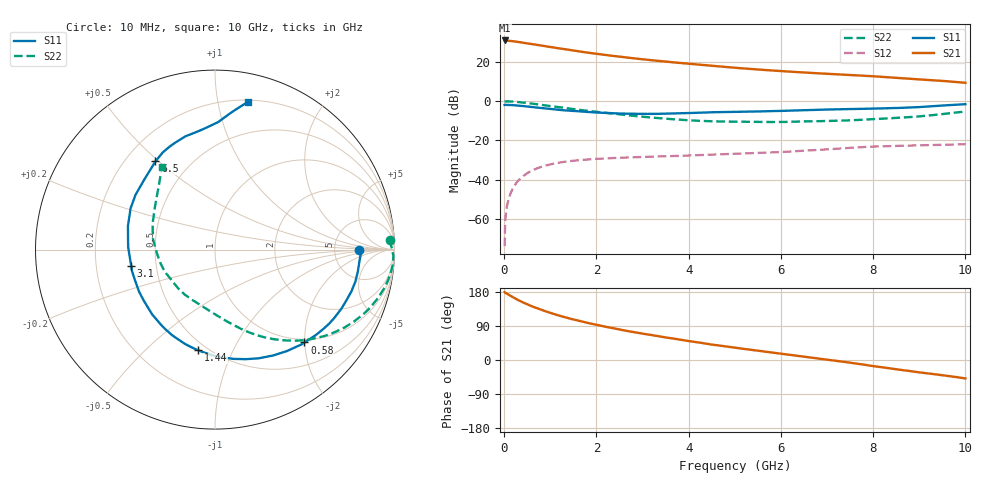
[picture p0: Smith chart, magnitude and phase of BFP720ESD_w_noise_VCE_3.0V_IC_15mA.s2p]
! Infineon Technologies  Discrete & RF Semiconductors
! BFP720ESD
! VCE =  3.0 V,  IC =  15 mA
! Common Emitter S-Parameters:  Jan 2016
# GHz  S  MA  R  50
!  f  S11  S21  S12  S22
! GHz  MAG  ANG  MAG  ANG  MAG  ANG  MAG  ANG
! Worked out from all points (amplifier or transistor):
!   233 points, 10 MHz to 10 GHz, reference 50 ohm
!   highest |S21| = 31.0 dB at 10 MHz (marker M1)
!   |S21| within 3 dB of that: start of sweep to 914.6 MHz
!   unconditionally stable (mu >= 1): 4.761 GHz to 7.295 GHz
!   at 200 MHz: K = 0.11, MSG = 37.3 dB, |S12| = -44.0 dB
!   at 1.74 GHz: K = 0.49, MSG = 27.5 dB, |S12| = -29.9 dB
!   at 10 GHz: K = 0.69, MSG = 15.7 dB, |S12| = -21.9 dB
!   lowest NFmin = 0.81 dB at 450 MHz
!   S11 on the Smith chart (normalised r, x): 10 MHz: 9.24, -0.07; 580 MHz: 0.93, -1.99; 1.44 GHz: 0.45, -0.74; 3.1 GHz: 0.36, -0.09; 6.5 GHz: 0.32, +0.49; 10 GHz: 0.22, +1.22
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0.01  0.8047 -0.1  35.66 179.3  0.0002 -130.3  0.9759 3.2
0.02  0.8135 -1.4  35.18 177.7  0.0007 96.7  0.9867 -0.2
0.05  0.808 -4.0  34.98 175.7  0.0018 85.0  0.9947 -2.0
0.15  0.8024 -12.8  34.56 168.6  0.0048 82.5  0.9874 -7.5
0.3  0.7771 -25.2  32.88 158.4  0.0093 76.0  0.9566 -14.9
0.45  0.7472 -36.6  30.89 149.7  0.0133 69.9  0.9172 -21.3
0.58  0.7183 -46.1  29.17 142.8  0.0164 65.2  0.8788 -26.4
0.76  0.6797 -58.6  26.98 134.4  0.0203 59.3  0.8256 -32.8
0.98  0.6374 -73.0  24.53 125.1  0.0242 53.2  0.762 -39.8
1.2  0.6017 -86.3  22.33 116.8  0.0272 47.8  0.7024 -46.0
1.44  0.5686 -99.4  20.16 108.8  0.0297 43.2  0.6443 -51.8
1.68  0.5431 -111.3  18.35 101.5  0.0317 39.4  0.5951 -56.9
1.98  0.5175 -124.8  16.4 93.4  0.0337 35.7  0.5426 -62.6
2.38  0.4912 -141.8  14.31 83.4  0.0357 31.7  0.4801 -69.9
3.1  0.4758 -168.8  11.47 67.7  0.0381 27.4  0.3929 -82.8
3.4  0.4797 -178.5  10.56 61.7  0.0391 26.4  0.3671 -88.3
4  0.5025 164.9  9.089 50.0  0.0413 25.1  0.3275 -100.7
5.1  0.5394 143.8  7.024 30.8  0.0458 23.1  0.3003 -126.2
6.5  0.5931 124.0  5.429 8.7  0.0546 21.3  0.3061 -156.7
6.8  0.6055 120.5  5.177 4.1  0.0574 20.4  0.3096 -162.6
8.4  0.6665 97.9  4.031 -22.8  0.0722 8.8  0.3699 160.0
10  0.8421 77.5  2.959 -48.6  0.0802 -2.9  0.5488 122.6
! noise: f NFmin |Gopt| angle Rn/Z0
0.45  0.81  0.12  1  0.13
0.9  0.83  0.12  7  0.12
1.9  0.85  0.1  5  0.13
2.4  0.86  0.09  4  0.14
5.5  1.05  0.14  -111  0.11
10  1.42  0.51  -89  0.39
